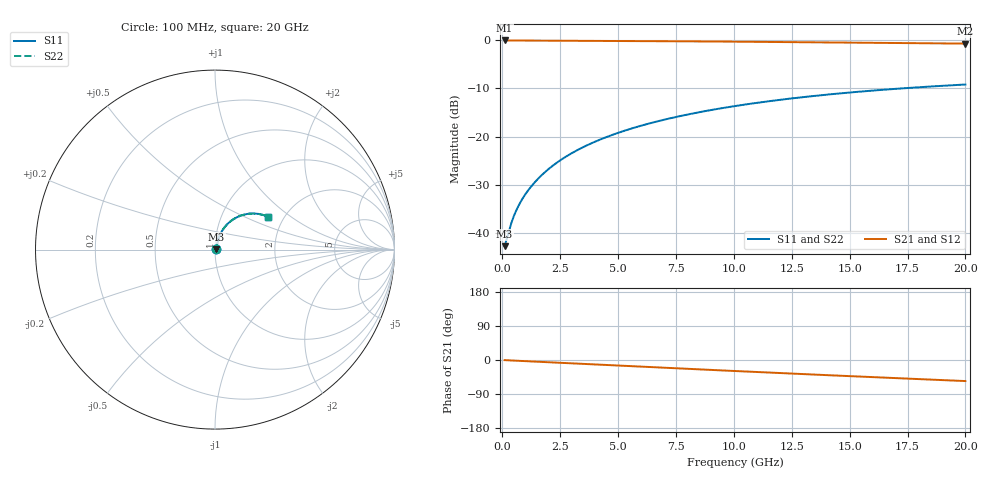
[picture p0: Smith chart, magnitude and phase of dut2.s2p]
! Touchstone file exported from HFSS 2026.1.0
!  File:  C:/ffzhzh/LocalFiles/Ansys_Project_Files/temp_val_BSMRDL_2_1782903037_42304.aedt
!  Generated:  06:52:01 PM Jul  1, 2026
!  Design:  BSMRDL
!  Project:  temp_val_BSMRDL_2_1782903037_42304
! Variables:
!  h_bsmrdl = 2.11um
!  h_ox = 20um
!  h_rdl = 5um
!  h_sub = 80um
!  h_tmrdl = 5um
!  h_tsv = 80um
!  h_via = 3um
!  l_bsmrdl = 911.93um
!  l_sub = 1311.93um
!  l_tmrdl = 200um
!  m_sub = 200um
!  pitch = 37.39um
!  r_tsv = 6um
!  s_tmrdl = 10um
!  w_bsmrdl = 23.41um
!  w_sub = 500um
!  w_tmrdl = 12um
!  x_tsv_center1 = 206um
!  x_tsv_center2 = 1141.34um
!  x_tsv_center3 = 1353.34um
!  x_tsv_center4 = 2288.68um
!  x_tsv_center5 = 2500.68um
!  x_tsv_center6 = 3436.02um
# GHz S MA R 50.000000
! Terminal data exported
! Port[1] = BSM_RDL1_1_T1
! Port[2] = BSM_RDL1_1_T2
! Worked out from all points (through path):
!   200 points, 100 MHz to 20 GHz, reference 50 ohm
!   highest |S21| = -0.06 dB at 100 MHz (marker M1); lowest = -0.7 dB at 20 GHz (marker M2)
!   group delay of S21, straight-line fit = 7.72 ps
!   lowest |S11| = -42.7 dB at 100 MHz (marker M3), VSWR 1.01, Z = 50.7 + j0.274 ohm
!   |S11| at or under -10 dB: start of sweep to 17.25 GHz
!   |S22| runs from -42.7 to -9.2 dB; largest |S21 - S12| = 2e-14
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0.1  0.007315 21.7  0.9932 -0.3  0.9932 -0.3  0.007315 21.7
! Gamma 0 0 0 0
! Port Impedance 50 0 50 0
0.3  0.01081 46.4  0.9926 -1.0  0.9926 -1.0  0.01081 46.4
0.4  0.01291 52.3  0.9923 -1.3  0.9923 -1.3  0.01291 52.3
0.5  0.01502 56.2  0.9919 -1.6  0.9919 -1.6  0.01502 56.2
0.6  0.01711 59.1  0.9916 -1.9  0.9916 -1.9  0.01711 59.1
0.7  0.01918 61.3  0.9913 -2.2  0.9913 -2.2  0.01918 61.3
0.9  0.02329 64.6  0.9908 -2.7  0.9908 -2.7  0.02329 64.6
1.2  0.02944 67.8  0.9903 -3.6  0.9903 -3.6  0.02944 67.8
1.7  0.03983 70.7  0.9895 -5.1  0.9895 -5.1  0.03983 70.7
2.2  0.05037 72.0  0.9888 -6.5  0.9888 -6.5  0.05037 72.0
2.8  0.06309 72.4  0.9878 -8.3  0.9878 -8.3  0.06309 72.4
3.5  0.07794 72.0  0.9866 -10.3  0.9866 -10.3  0.07794 72.0
4.2  0.0927 71.0  0.9851 -12.4  0.9851 -12.4  0.0927 71.0
5  0.1094 69.6  0.9831 -14.7  0.9831 -14.7  0.1094 69.6
5.9  0.1279 67.7  0.9806 -17.3  0.9806 -17.3  0.1279 67.7
6.8  0.146 65.6  0.9777 -19.9  0.9777 -19.9  0.146 65.6
8.3  0.1752 61.9  0.9724 -24.2  0.9724 -24.2  0.1752 61.9
10.1  0.2084 57.2  0.9651 -29.2  0.9651 -29.2  0.2083 57.3
11.7  0.2359 53.1  0.9582 -33.7  0.9582 -33.7  0.2359 53.1
13.4  0.2631 48.7  0.9505 -38.3  0.9505 -38.3  0.263 48.7
16.7  0.3093 40.2  0.9355 -47.1  0.9355 -47.1  0.3093 40.2
20  0.3468 31.9  0.9216 -55.6  0.9216 -55.6  0.3467 32.0
